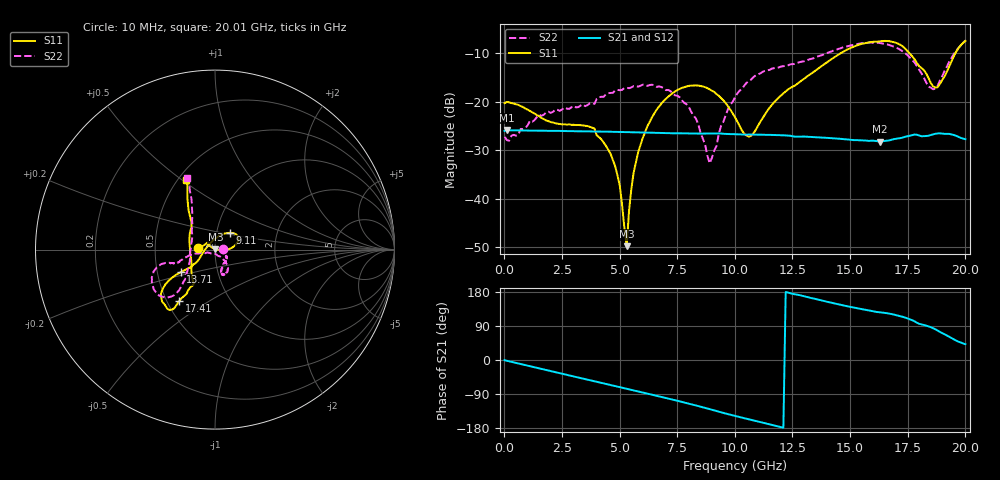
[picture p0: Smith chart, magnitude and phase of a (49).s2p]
! Hittite Microwave Corporation
! 2 Elizabeth Drive
! Chelmsford, MA 01824
! http://www.hittite.com
! Tel: 978-250-3343
! Fax: 978-250-3373
! Device:  HMC424LP3
! Description: 0.5 dB GaAs MMIC 6-Bit Digital Attenuator
! Frequency:  DC -  13.00 GHz
! Package:  LP3  - 3x3 mm Quad Flatpack No-Lead (QFN) Plastic Package: 16 pin
! Ports:  2 RF, 7 DC
!  Pad  1  = Ground
!  Pad  2  = RF IN  =  Port 1
!  Pad  3  = Ground
!  Pad  4  = V6
!  Pad  5  = V5
!  Pad  6  = V4
!  Pad  7  = V3
!  Pad  8  = V2
!  Pad  9  = V1
!  Pad 10  = Ground
!  Pad 11  = RF OUT  = Port 2
!  Pad 12  = Ground
!  Pad 15  = VEE
! Control:  -5 Volt control voltage
! State:  47
! Attenuation:  23.5 dB
! Voltages:  Vdd = -5.00 Volts  Idd =  -2.643 mA
!  V1  = -5.00 Volts  I1  =  -1.0 uA
!  V2  = -5.00 Volts  I2  =  -1.0 uA
!  V3  = -5.00 Volts  I3  =  -1.0 uA
!  V4  = -5.00 Volts  I4  =  -1.0 uA
!  V5  = 0.00 Volts  I5  =  29.0 uA
!  V6  = -5.00 Volts  I6  =  -1.0 uA
! Data:  The device was measured on evaluation board 105354-1.
!  Data was collected using a calibrated network analyzer.
!  The evaluation circuit board was modeled and simulated.  This was use
!  to removed the evaluation board circuit from the measured data.
!  The reference plane is the edge of the package pin.
! Misc:  Lot xxxx, Unit 1
!  Application 20120001, Data collected in Application 20090083
! Date Measured:  2009-09-15
! Date:  2012-05-14  MJV
! Note:
!  Hittite supplies this data as a sample of measured data at the package pin
!  for this product.  Your particular data for this product may vary.
!  Data was taken at 25 degrees C.
!  Hittite reserves the right to change this data at anytime.
# GHz S MA R 50
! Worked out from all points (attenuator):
!   201 points, 10 MHz to 20.01 GHz, reference 50 ohm
!   highest |S21| = -25.83 dB at 110 MHz (marker M1); lowest = -28.2 dB at 16.31 GHz (marker M2)
!   lowest |S11| = -49.8 dB at 5.31 GHz (marker M3), VSWR 1.01, Z = 50.2 + j0.228 ohm
!   |S11| at or under -10 dB: start of sweep to 14.6 GHz; 17.57 GHz to 19.58 GHz (2.003 GHz wide, 10.8 % of centre)
!   |S22| runs from -32.7 to -7.4 dB; largest |S21 - S12| = 0.0012
!   S11 on the Smith chart (normalised r, x): 10 MHz: 0.82, +0.02; 9.11 GHz: 1.16, +0.22; 13.71 GHz: 0.66, -0.17; 17.41 GHz: 0.58, -0.38; 20.01 GHz: 0.54, +0.52
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0.01  0.09677 174.6  0.05005 -0.3  0.05118 -0.8  0.04348 6.7
0.11  0.0995 178.5  0.05112 -2.1  0.05091 -2.2  0.0402 0.6
3.41  0.05711 135.6  0.04955 -49.1  0.04948 -49.2  0.09352 -54.1
3.91  0.05298 139.5  0.04931 -56.1  0.04931 -56.1  0.09497 -66.3
4.81  0.02163 146.2  0.04897 -68.8  0.04888 -68.8  0.1308 -75.1
5.01  0.0136 143.3  0.04879 -71.6  0.04876 -71.6  0.1316 -73.8
5.31  0.003252 44.1  0.04869 -75.9  0.04861 -76.0  0.1394 -73.2
5.51  0.01256 -3.4  0.04859 -78.8  0.04857 -78.8  0.1404 -74.7
5.81  0.03047 -6.1  0.04835 -83.0  0.04831 -83.0  0.1428 -72.8
6.71  0.08896 5.1  0.0478 -95.9  0.04769 -95.9  0.144 -63.4
8.01  0.1458 26.4  0.04713 -115.3  0.04699 -115.2  0.08815 -48.5
8.91  0.134 43.6  0.04712 -129.6  0.04698 -129.6  0.02322 -102.0
9.11  0.126 48.0  0.0471 -133.0  0.04701 -133.0  0.03139 -136.5
10.01  0.06913 80.2  0.04633 -147.5  0.04625 -147.6  0.1108 -168.5
10.71  0.04446 151.6  0.04588 -157.8  0.04584 -157.8  0.1692 -165.4
13.41  0.2016 -145.8  0.0432 162.3  0.04307 162.3  0.2799 -164.7
13.71  0.2278 -146.7  0.0429 158.0  0.0429 158.1  0.2982 -164.7
16.31  0.4197 -130.5  0.03889 125.8  0.03887 125.8  0.4023 -140.3
16.71  0.4205 -127.0  0.04 122.3  0.03999 122.4  0.3841 -135.9
17.41  0.3499 -124.8  0.04368 111.7  0.0435 111.7  0.3154 -131.5
18.71  0.14 -169.3  0.04677 80.9  0.04674 80.9  0.1367 162.8
20.01  0.423 112.8  0.04114 41.6  0.04103 41.8  0.4279 111.4
